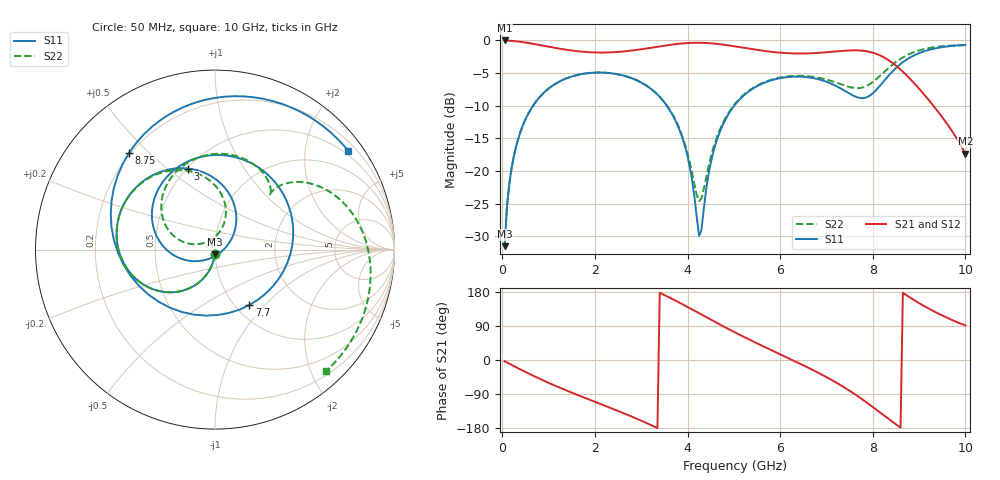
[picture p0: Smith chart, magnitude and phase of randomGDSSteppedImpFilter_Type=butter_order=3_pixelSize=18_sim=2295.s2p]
! freq	dB(S11)	phase(S11)	dB(S12)	phase(S12)
!  dB(S21)	phase(S21)	dB(S22)	phase(S22)
!S-par simulation data
#  GHz  S  DB  R 50
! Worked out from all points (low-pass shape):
!   200 points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, 50 MHz to 10 GHz, reference 50 ohm
!   highest |S21| = -0.01 dB at 50 MHz (marker M1); lowest = -17.4 dB at 10 GHz (marker M2)
!   |S21| within 3 dB of the highest: start of sweep to 8.336 GHz
!   lowest |S11| = -31.5 dB at 50 MHz (marker M3), VSWR 1.05, Z = 49.8 - j2.64 ohm
!   |S11| at or under -10 dB: start of sweep to 665.2 MHz; 3.552 GHz to 5.01 GHz (1.458 GHz wide, 34.1 % of centre)
!   |S22| runs from -31.5 to -0.7 dB; largest |S21 - S12| = 0
!   S11 on the Smith chart (normalised r, x): 50 MHz: 1.00, -0.05; 3 GHz: 0.51, +0.59; 7.7 GHz: 1.16, -0.82; 8.75 GHz: 0.19, +0.43; 10 GHz: 0.40, +2.99
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0.05  -31.53 -93.4  -0.01 -3.3  -0.01 -3.3  -31.53 -93.4
0.1  -25.53 -96.7  -0.02 -6.5  -0.02 -6.5  -25.53 -96.7
0.2  -19.60 -103.3  -0.07 -12.9  -0.07 -12.9  -19.60 -103.3
0.5  -12.11 -122.1  -0.32 -31.5  -0.32 -31.5  -12.11 -122.1
1.05  -7.10 -153.6  -1.03 -63.0  -1.03 -63.0  -7.11 -153.5
1.75  -5.11 171.0  -1.74 -98.4  -1.74 -98.4  -5.12 171.4
2.45  -5.13 137.1  -1.79 -132.0  -1.79 -132.0  -5.14 138.5
3  -6.45 108.4  -1.36 -160.1  -1.36 -160.1  -6.45 111.9
3.4  -8.66 84.8  -0.91 177.4  -0.91 177.4  -8.64 91.8
3.95  -16.38 43.6  -0.43 143.2  -0.43 143.2  -16.05 71.0
4.25  -29.96 -42.0  -0.36 123.4  -0.36 123.4  -24.61 115.2
4.6  -16.02 -156.9  -0.50 100.2  -0.50 100.2  -15.52 167.0
5.05  -9.65 168.0  -0.94 71.3  -0.94 71.3  -9.50 149.6
5.85  -6.03 116.6  -1.78 23.7  -1.78 23.7  -5.94 108.8
6.7  -5.76 59.3  -1.96 -26.0  -1.96 -26.0  -5.56 69.0
7.25  -7.14 8.4  -1.66 -62.4  -1.66 -62.4  -6.56 49.3
7.7  -8.79 -58.4  -1.54 -97.5  -1.54 -97.5  -7.31 44.7
8  -8.10 -117.8  -1.88 -124.1  -1.88 -124.1  -6.38 45.4
8.35  -5.33 -178.3  -3.07 -156.3  -3.07 -156.3  -4.16 37.3
8.75  -2.84 131.7  -5.49 169.1  -5.49 169.1  -2.22 17.8
9.3  -1.30 82.8  -9.93 129.7  -9.93 129.7  -1.06 -12.1
10  -0.69 36.5  -17.38 91.2  -17.38 91.2  -0.75 -47.6
